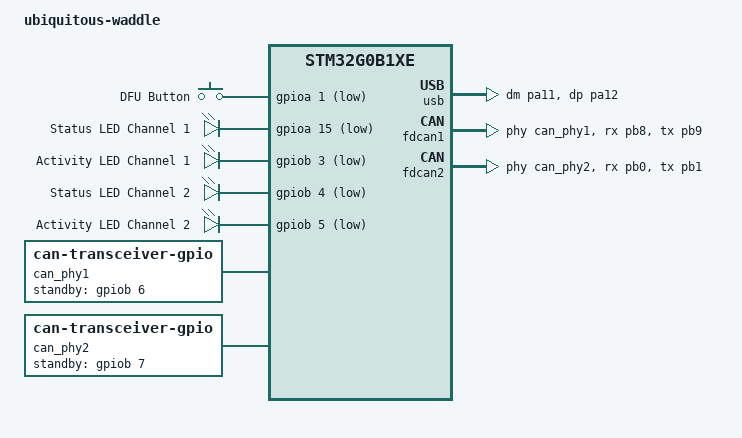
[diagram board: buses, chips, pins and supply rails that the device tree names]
/*
 * Copyright (c) 2025 leonwip
 * SPDX-License-Identifier: Apache-2.0
 */

/dts-v1/;

#include <st/g0/stm32g0b1Xe.dtsi>
#include <st/g0/stm32g0b1r(b-c-e)tx-pinctrl.dtsi>

/ {
    model = "ubiquitous-waddle";
    compatible = "leonwip,ubiquitous-waddle";

    chosen {
        zephyr,sram = &sram0;
        zephyr,flash = &flash0;
        zephyr,code-partition = &slot0_partition;
        zephyr,canbus = &fdcan1;
    };

    buttons {
        compatible = "gpio-keys";

        button0: button0 {
            label = "DFU Button";
            gpios = <&gpioa 1 GPIO_ACTIVE_LOW>;
        };
    };

    leds {
        compatible = "gpio-leds";

        led_sta1: led_sta1 {
            gpios = <&gpioa 15 GPIO_ACTIVE_LOW>;
            label = "Status LED Channel 1";
        };

        led_act1: led_act1 {
            gpios = <&gpiob 3 GPIO_ACTIVE_LOW>;
            label = "Activity LED Channel 1";
        };

        led_sta2: led_sta2 {
            gpios = <&gpiob 4 GPIO_ACTIVE_LOW>;
            label = "Status LED Channel 2";
        };

        led_act2: led_act2 {
            gpios = <&gpiob 5 GPIO_ACTIVE_LOW>;
            label = "Activity LED Channel 2";
        };
    };

    aliases {
        mcuboot-button0 = &button0;
        led0 = &led_act1;
        led1 = &led_sta1;
        led2 = &led_act2;
        led3 = &led_sta2;
    };

    can_phy1: can-phy1 {
        compatible = "can-transceiver-gpio";
        standby-gpios = <&gpiob 6 GPIO_ACTIVE_HIGH>;
        max-bitrate = <8000000>;
        #phy-cells = <0>;
    };

    can_phy2: can-phy2 {
        compatible = "can-transceiver-gpio";
        standby-gpios = <&gpiob 7 GPIO_ACTIVE_HIGH>;
        max-bitrate = <8000000>;
        #phy-cells = <0>;
    };
};

&clk_lsi {
    status = "okay";
};

&clk_hsi {
    status = "okay";
};

&clk_hsi48 {
    status = "okay";
    crs-usb-sof;
};

&pll {
    div-m = <1>;
    mul-n = <8>;
    div-p = <2>;
    div-q = <2>;
    div-r = <2>;
    clocks = <&clk_hsi>;
    status = "okay";
};

&rcc {
    clocks = <&pll>;
    clock-frequency = <DT_FREQ_M(64)>;
    ahb-prescaler = <1>;
    apb1-prescaler = <1>;
};

zephyr_udc0: &usb {
    pinctrl-0 = <&usb_dm_pa11 &usb_dp_pa12>;
    pinctrl-names = "default";
    status = "okay";
};

&fdcan1 {
    clocks = <&rcc STM32_CLOCK_BUS_APB1 0x00001000>,
             <&rcc STM32_SRC_PLL_Q FDCAN_SEL(1)>;
    pinctrl-0 = <&fdcan1_rx_pb8 &fdcan1_tx_pb9>;
    pinctrl-names = "default";
    phys = <&can_phy1>;
    status = "okay";
};

&fdcan2 {
    clocks = <&rcc STM32_CLOCK_BUS_APB1 0x00001000>,
             <&rcc STM32_SRC_PLL_Q FDCAN_SEL(1)>;
    pinctrl-0 = <&fdcan2_rx_pb0 &fdcan2_tx_pb1>;
    pinctrl-names = "default";
    phys = <&can_phy2>;
    status = "okay";
};

&flash0 {
    partitions {
        compatible = "fixed-partitions";
        #address-cells = <1>;
        #size-cells = <1>;

        boot_partition: partition@0 {
            label = "mcuboot";
            reg = <0x00000000 DT_SIZE_K(64)>;
            read-only;
        };

        slot0_partition: partition@10000 {
            label = "image-0";
            reg = <0x00010000 DT_SIZE_K(160)>;
        };

        slot1_partition: partition@38000 {
            label = "image-1";
            reg = <0x00038000 DT_SIZE_K(160)>;
        };

        storage_partition: partition@60000 {
            label = "storage";
            reg = <0x00060000 DT_SIZE_K(128)>;
        };
    };
};
